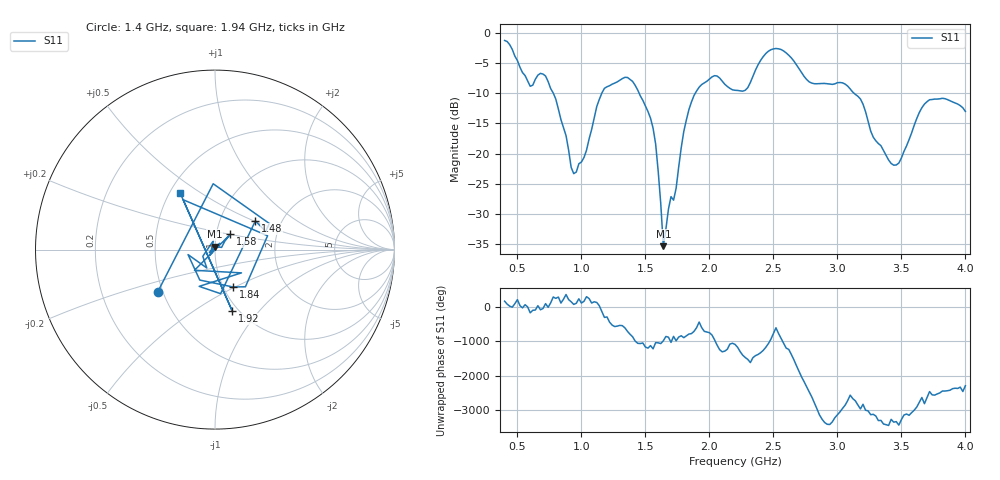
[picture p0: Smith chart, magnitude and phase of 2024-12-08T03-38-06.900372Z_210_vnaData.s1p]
!Created with skrf (http://scikit-rf.org).
# Hz S RI R 50.0
!freq ReS11 ImS11
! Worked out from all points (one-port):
!   181 points, 400 MHz to 4 GHz, reference 50 ohm
!   lowest |S11| = -35.3 dB at 1.64 GHz (marker M1), VSWR 1.04, Z = 49.7 + j1.69 ohm
!   |S11| at or under -10 dB: 780.4 MHz to 1.16 GHz (379.1 MHz wide, 39.1 % of centre); 1.451 GHz to 1.89 GHz (439.5 MHz wide, 26.3 % of centre); 3.129 GHz to end of sweep
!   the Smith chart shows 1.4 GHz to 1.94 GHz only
!   S11 on the Smith chart (normalised r, x): 1.4 GHz: 0.47, -0.26; 1.48 GHz: 1.48, +0.51; 1.58 GHz: 1.17, +0.20; 1.84 GHz: 1.11, -0.49; 1.92 GHz: 0.94, -0.73; 1.94 GHz: 0.56, +0.42
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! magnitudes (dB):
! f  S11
! 400 MHz  -1.3
! 600 MHz  -8.9
! 720 MHz  -7.2
! 860 MHz  -15.7
! 920 MHz  -22.3
! 960 MHz  -23.0
! 1.16 GHz  -10.0
! 1.3 GHz  -7.9
! 1.4 GHz  -8.1
! 1.48 GHz  -11.2
! 1.58 GHz  -18.4
! 1.64 GHz  -35.3
! 1.68 GHz  -29.2
! 1.76 GHz  -22.2
! 1.84 GHz  -12.7
! 1.92 GHz  -9.0
! 1.94 GHz  -8.6
! 2.06 GHz  -7.2
! 2.2 GHz  -9.5
! 2.3 GHz  -9.1
! 2.48 GHz  -2.8
! 2.66 GHz  -4.7
! 2.78 GHz  -8.1
! 3.1 GHz  -9.3
! 3.42 GHz  -21.6
! 3.56 GHz  -17.7
! 3.72 GHz  -11.1
! 4 GHz  -13.0
